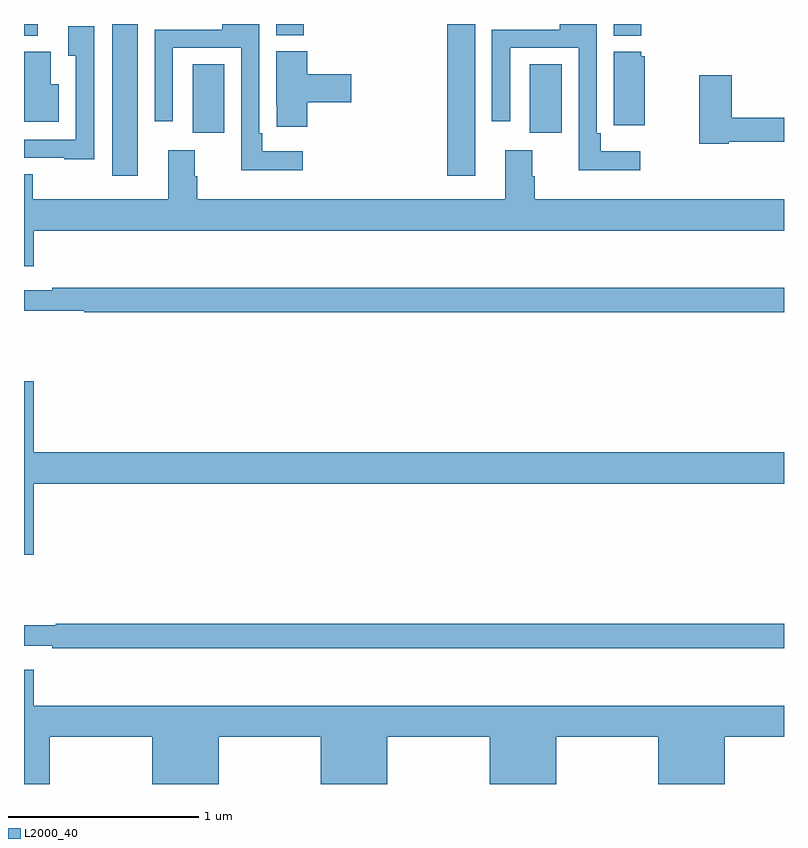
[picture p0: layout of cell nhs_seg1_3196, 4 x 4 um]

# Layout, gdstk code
import gdstk
lib = gdstk.Library(unit=1e-6, precision=1e-09)
def R(c, l, rs):  # rectangles x0, y0, x1, y1
    for r in rs: c.add(gdstk.rectangle(r[:2], r[2:], *l))
def P(c, l, *ps):  # polygons
    for p in ps: c.add(gdstk.Polygon(p, *l))
L2000_40 = (2000, 40)

nhs_seg1_3196 = lib.new_cell('nhs_seg1_3196')
R(nhs_seg1_3196, L2000_40, [(285.464,505.401,285.598,506.199), (287.228,505.401,287.374,506.199), (285.887,505.626,286.054,505.988), (287.663,505.626,287.83,505.988), (285,506.137,285.073,506.199), (288.104,506.138,288.248,506.199), (286.328,506.14,286.472,506.199)])
P(nhs_seg1_3196, L2000_40, [(286.468,505.528),(286.255,505.528),(286.255,505.624),(286.239,505.624),(286.239,506.199),(286.043,506.199),(286.043,506.169),(285.687,506.169),(285.687,505.686),(285.783,505.686),(285.783,506.073),(286.143,506.073),(286.143,505.43),(286.468,505.43)],
  [(288.244,505.528),(288.035,505.528),(288.035,505.624),(288.015,505.624),(288.015,506.199),(287.819,506.199),(287.819,506.169),(287.463,506.169),(287.463,505.686),(287.559,505.686),(287.559,506.073),(287.919,506.073),(287.919,505.43),(288.244,505.43)],
  [(285.369,506.188),(285.233,506.188),(285.233,506.032),(285.273,506.032),(285.273,505.59),(285,505.59),(285,505.494),(285.213,505.494),(285.213,505.487),(285.369,505.487)],
  [(286.49,505.787),(286.723,505.787),(286.723,505.934),(286.49,505.934),(286.49,506.055),(286.328,506.055),(286.328,505.771),(286.329,505.771),(286.329,505.659),(286.49,505.659)],
  [(288.268,506.028),(288.249,506.028),(288.249,506.053),(288.104,506.053),(288.104,505.667),(288.268,505.667)],
  [(285.184,505.882),(285.142,505.882),(285.142,506.052),(285.002,506.052),(285.002,505.685),(285.184,505.685)],
  [(288.708,505.578),(289,505.578),(289,505.706),(288.725,505.706),(288.725,505.93),(288.554,505.93),(288.554,505.57),(288.708,505.57)],
  [(285.052,505.112),(289,505.112),(289,505.276),(287.687,505.276),(287.687,505.397),(287.674,505.397),(287.674,505.534),(287.534,505.534),(287.534,505.276),(285.911,505.276),(285.911,505.397),(285.898,505.397),(285.898,505.534),(285.758,505.534),(285.758,505.276),(285.045,505.276),(285.045,505.409),(285,505.409),(285,504.924),(285.052,504.924)],
  [(289,504.811),(285.148,504.811),(285.148,504.798),(285,504.798),(285,504.69),(285.316,504.69),(285.316,504.682),(289,504.682)],
  [(285.052,503.78),(289,503.78),(289,503.944),(285.052,503.944),(285.052,504.319),(285,504.319),(285,503.406),(285.052,503.406)],
  [(289,503.042),(285.166,503.042),(285.166,503.035),(285,503.035),(285,502.926),(285.148,502.926),(285.148,502.914),(289,502.914)],
  [(285.136,502.448),(285.674,502.448),(285.674,502.199),(286.024,502.199),(286.024,502.448),(286.562,502.448),(286.562,502.199),(286.912,502.199),(286.912,502.448),(287.45,502.448),(287.45,502.199),(287.8,502.199),(287.8,502.448),(288.338,502.448),(288.338,502.199),(288.688,502.199),(288.688,502.448),(289,502.448),(289,502.612),(285.052,502.612),(285.052,502.801),(285,502.801),(285,502.199),(285.136,502.199)])

lib.write_gds('nhs_seg1_3196.gds')
